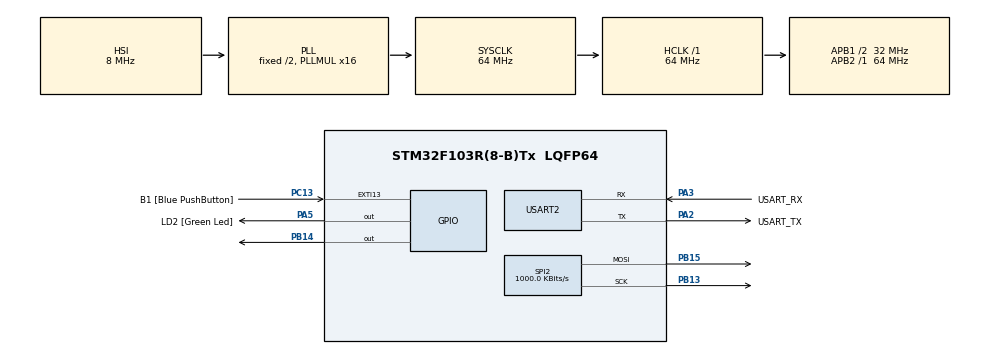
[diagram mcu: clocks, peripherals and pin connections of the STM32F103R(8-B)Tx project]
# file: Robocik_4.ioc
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Mcu.Family=STM32F1
Mcu.Name=STM32F103R(8-B)Tx
Mcu.Package=LQFP64
NVIC.EXTI15_10_IRQn=true\:0\:0\:false\:false\:true\:true\:true
NVIC.PriorityGroup=NVIC_PRIORITYGROUP_4
PA13.GPIO_Label=TMS
PA13.Mode=Serial_Wire
PA13.Signal=SYS_JTMS-SWDIO
PA14.GPIO_Label=TCK
PA14.Mode=Serial_Wire
PA14.Signal=SYS_JTCK-SWCLK
PA2.GPIO_Label=USART_TX
PA2.GPIO_Mode=GPIO_MODE_AF_PP
PA2.GPIO_PuPd=GPIO_NOPULL
PA2.GPIO_Speed=GPIO_SPEED_FREQ_LOW
PA2.Mode=Asynchronous
PA2.Signal=USART2_TX
PA3.GPIO_Label=USART_RX
PA3.GPIO_Mode=GPIO_MODE_AF_PP
PA3.GPIO_PuPd=GPIO_NOPULL
PA3.GPIO_Speed=GPIO_SPEED_FREQ_LOW
PA3.Mode=Asynchronous
PA3.Signal=USART2_RX
PA5.GPIO_Label=LD2 [Green Led]
PA5.GPIO_ModeDefaultOutputPP=GPIO_MODE_OUTPUT_PP
PA5.GPIO_PuPd=GPIO_NOPULL
PA5.GPIO_Speed=GPIO_SPEED_FREQ_LOW
PA5.Signal=GPIO_Output
PB13.Mode=TX_Only_Simplex_Unidirect_Master
PB13.Signal=SPI2_SCK
PB14.Signal=GPIO_Output
PB15.Mode=TX_Only_Simplex_Unidirect_Master
PB15.Signal=SPI2_MOSI
PB3.GPIO_Label=SWO
PB3.Signal=SYS_JTDO-TRACESWO
PC13-TAMPER-RTC.GPIO_Label=B1 [Blue PushButton]
PC13-TAMPER-RTC.GPIO_PuPd=GPIO_NOPULL
PC13-TAMPER-RTC.Signal=GPXTI13
PC14-OSC32_IN.Mode=LSE-External-Oscillator
PC14-OSC32_IN.Signal=RCC_OSC32_IN
PC15-OSC32_OUT.Mode=LSE-External-Oscillator
PC15-OSC32_OUT.Signal=RCC_OSC32_OUT
PD0-OSC_IN.Mode=HSE-External-Clock-Source
PD0-OSC_IN.Signal=RCC_OSC_IN
PD1-OSC_OUT.Mode=HSE-External-Clock-Source
PD1-OSC_OUT.Signal=RCC_OSC_OUT
ProjectManager.HeapSize=0x200
ProjectManager.StackSize=0x400
ProjectManager.TargetToolchain=STM32CubeIDE
RCC.AHBFreq_Value=64000000
RCC.APB1CLKDivider=RCC_HCLK_DIV2
RCC.APB1Freq_Value=32000000
RCC.APB1TimFreq_Value=64000000
RCC.APB2Freq_Value=64000000
RCC.APB2TimFreq_Value=64000000
RCC.HCLKFreq_Value=64000000
RCC.PLLMUL=RCC_PLL_MUL16
RCC.RTCClockSelection=RCC_RTCCLKSOURCE_LSE
RCC.SYSCLKFreq_VALUE=64000000
RCC.SYSCLKSource=RCC_SYSCLKSOURCE_PLLCLK
RCC.USBFreq_Value=64000000
SPI2.BaudRatePrescaler=SPI_BAUDRATEPRESCALER_32
SPI2.CalculateBaudRate=1000.0 KBits/s
SPI2.Direction=SPI_DIRECTION_2LINES
SPI2.Mode=SPI_MODE_MASTER
SPI2.VirtualType=VM_MASTER
USART2.VirtualMode=VM_ASYNC
board=NUCLEO-F103RB

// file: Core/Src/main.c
/* USER CODE BEGIN Header */
/**
  ******************************************************************************
  * @file           : main.c
  * @brief          : Main program body
  ******************************************************************************
  * @attention
  *
  * <h2><center>&copy; Copyright (c) 2020 STMicroelectronics.
  * All rights reserved.</center></h2>
  *
  * This software component is licensed by ST under BSD 3-Clause license,
  * the "License"; You may not use this file except in compliance with the
  * License. You may obtain a copy of the License at:
  *                        opensource.org/licenses/BSD-3-Clause
  *
  ******************************************************************************
  */
/* USER CODE END Header */
#include "main.h"
#include "spi.h"
#include "usart.h"
#include "gpio.h"

void SystemClock_Config(void);
/* USER CODE BEGIN PFP */
void matrixSetup(SPI_HandleTypeDef *hspi);
void putPixel(SPI_HandleTypeDef *hspi , uint8_t X, uint8_t Y);//begining in up left corner
															 // in (1,1) point
/* USER CODE END PFP */

int main(void)
{

  /* MCU Configuration--------------------------------------------------------*/

  /* Reset of all peripherals, Initializes the Flash interface and the Systick. */
  HAL_Init();

  /* Configure the system clock */
  SystemClock_Config();

  /* Initialize all configured peripherals */
  MX_GPIO_Init();
  MX_USART2_UART_Init();
  MX_SPI2_Init();
  /* USER CODE BEGIN 2 */
matrixSetup(&hspi2);
  /* USER CODE END 2 */

  /* Infinite loop */
  while (1)
  {
	  for(uint8_t i =1 ; i<=8 ; i++){
		  putPixel(&hspi2, 1, i);
		  putPixel(&hspi2, 2, i);
		  putPixel(&hspi2, 7, i);
		  putPixel(&hspi2, 8, i);
	  }
	  for(uint8_t i =2 ; i<=4 ; i++){
		  putPixel(&hspi2, 3, i);
		  putPixel(&hspi2, 6, i);
	  }
	  for(uint8_t i =3 ; i<=5 ; i++){
		  putPixel(&hspi2, 4, i);
		  putPixel(&hspi2, 4, i);
	  }

	  HAL_Delay(500);

	  for(uint8_t i =1 ; i<=8 ; i++){
		  putPixel(&hspi2, i, 1);
		  putPixel(&hspi2, i, 2);
		  putPixel(&hspi2, i, 7);
		  putPixel(&hspi2, i, 8);
	  }

	  for(uint8_t i =3 ; i<=6 ; i++){
		  putPixel(&hspi2, 1, i);
		  putPixel(&hspi2, 2, i);
	  }

  }
}

void SystemClock_Config(void)
{
  RCC_OscInitTypeDef RCC_OscInitStruct = {0};
  RCC_ClkInitTypeDef RCC_ClkInitStruct = {0};

  /** Initializes the RCC Oscillators according to the specified parameters
  * in the RCC_OscInitTypeDef structure.
  */
  RCC_OscInitStruct.OscillatorType = RCC_OSCILLATORTYPE_HSI;
  RCC_OscInitStruct.HSIState = RCC_HSI_ON;
  RCC_OscInitStruct.HSICalibrationValue = RCC_HSICALIBRATION_DEFAULT;
  RCC_OscInitStruct.PLL.PLLState = RCC_PLL_ON;
  RCC_OscInitStruct.PLL.PLLSource = RCC_PLLSOURCE_HSI_DIV2;
  RCC_OscInitStruct.PLL.PLLMUL = RCC_PLL_MUL16;
  if (HAL_RCC_OscConfig(&RCC_OscInitStruct) != HAL_OK)
  {
    Error_Handler();
  }
  /** Initializes the CPU, AHB and APB buses clocks
  */
  RCC_ClkInitStruct.ClockType = RCC_CLOCKTYPE_HCLK|RCC_CLOCKTYPE_SYSCLK
                              |RCC_CLOCKTYPE_PCLK1|RCC_CLOCKTYPE_PCLK2;
  RCC_ClkInitStruct.SYSCLKSource = RCC_SYSCLKSOURCE_PLLCLK;
  RCC_ClkInitStruct.AHBCLKDivider = RCC_SYSCLK_DIV1;
  RCC_ClkInitStruct.APB1CLKDivider = RCC_HCLK_DIV2;
  RCC_ClkInitStruct.APB2CLKDivider = RCC_HCLK_DIV1;

  if (HAL_RCC_ClockConfig(&RCC_ClkInitStruct, FLASH_LATENCY_2) != HAL_OK)
  {
    Error_Handler();
  }
}

/* USER CODE BEGIN 4 */
void matrixSetup(SPI_HandleTypeDef *hspi){
	/*
	 write_max(0x09, 0x00);       //  no decoding
	 write_max(0x0a, 0x03);       //  brightness intensity
	 write_max(0x0b, 0x07);       //  scan limit = 8 LEDs
	 write_max(0x0c, 0x01);       //  power down =0，normal mode = 1
	 write_max(0x0f, 0x00);       //  no test display
	 */
	uint8_t Data[5] = { {0x09,0x00} , {0x0a, 0x03}, {0x0b, 0x07},{0x0c, 0x01},{0x0f, 0x00} };

	for(uint8_t = 0 ; i< 5 ; i++){
		HAL_GPIO_WritePin(GPIOB, GPIO_PIN_14, GPIO_PIN_RESET);
		HAL_SPI_Transmit(hspi, Data[i], 2, HAL_MAX_DELAY);
		HAL_GPIO_WritePin(GPIOB, GPIO_PIN_14, GPIO_PIN_SET);
	}

}

void putPixel(SPI_HandleTypeDef *hspi , uint8_t X, uint8_t Y){

	uint8_t Data[2] = { 0, 0};// X | Y

	Data[0] = Y;
	Data[1] = 9-X;

	HAL_GPIO_WritePin(GPIOB, GPIO_PIN_14, GPIO_PIN_RESET);
	HAL_SPI_Transmit(hspi, Data, 2, HAL_MAX_DELAY);
	HAL_GPIO_WritePin(GPIOB, GPIO_PIN_14, GPIO_PIN_SET);

}
/* USER CODE END 4 */

void Error_Handler(void)
{
}

/************************ (C) COPYRIGHT STMicroelectronics *****END OF FILE****/
